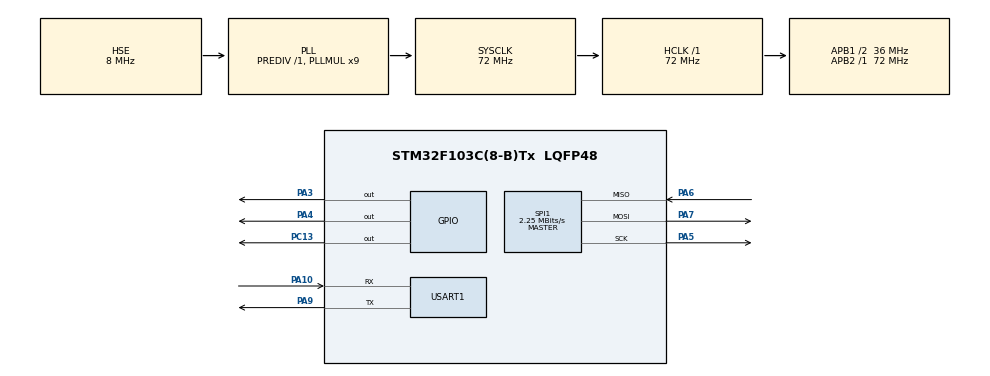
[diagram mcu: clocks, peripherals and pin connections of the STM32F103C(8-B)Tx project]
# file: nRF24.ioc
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Mcu.Family=STM32F1
Mcu.Name=STM32F103C(8-B)Tx
Mcu.Package=LQFP48
NVIC.PriorityGroup=NVIC_PRIORITYGROUP_4
PA10.Mode=Asynchronous
PA10.Signal=USART1_RX
PA3.Signal=GPIO_Output
PA4.Signal=GPIO_Output
PA5.Mode=Full_Duplex_Master
PA5.Signal=SPI1_SCK
PA6.Mode=Full_Duplex_Master
PA6.Signal=SPI1_MISO
PA7.Mode=Full_Duplex_Master
PA7.Signal=SPI1_MOSI
PA9.Mode=Asynchronous
PA9.Signal=USART1_TX
PC13-TAMPER-RTC.Signal=GPIO_Output
PD0-OSC_IN.Mode=HSE-External-Oscillator
PD0-OSC_IN.Signal=RCC_OSC_IN
PD1-OSC_OUT.Mode=HSE-External-Oscillator
PD1-OSC_OUT.Signal=RCC_OSC_OUT
ProjectManager.HeapSize=0x200
ProjectManager.StackSize=0x400
ProjectManager.TargetToolchain=TrueSTUDIO
RCC.AHBFreq_Value=72000000
RCC.APB1CLKDivider=RCC_HCLK_DIV2
RCC.APB1Freq_Value=36000000
RCC.APB1TimFreq_Value=72000000
RCC.APB2Freq_Value=72000000
RCC.APB2TimFreq_Value=72000000
RCC.HCLKFreq_Value=72000000
RCC.PLLMUL=RCC_PLL_MUL9
RCC.PLLSourceVirtual=RCC_PLLSOURCE_HSE
RCC.SYSCLKFreq_VALUE=72000000
RCC.SYSCLKSource=RCC_SYSCLKSOURCE_PLLCLK
RCC.USBFreq_Value=72000000
SPI1.BaudRatePrescaler=SPI_BAUDRATEPRESCALER_32
SPI1.CalculateBaudRate=2.25 MBits/s
SPI1.Direction=SPI_DIRECTION_2LINES
SPI1.Mode=SPI_MODE_MASTER
SPI1.VirtualType=VM_MASTER
USART1.VirtualMode=VM_ASYNC
VP_SYS_VS_ND.Mode=No_Debug
board=custom

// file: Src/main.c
/* USER CODE BEGIN Header */
/**
  ******************************************************************************
  * @file           : main.c
  * @brief          : Main program body
  ******************************************************************************
  * @attention
  *
  * <h2><center>&copy; Copyright (c) 2020 STMicroelectronics.
  * All rights reserved.</center></h2>
  *
  * This software component is licensed by ST under BSD 3-Clause license,
  * the "License"; You may not use this file except in compliance with the
  * License. You may obtain a copy of the License at:
  *                        opensource.org/licenses/BSD-3-Clause
  *
  ******************************************************************************
  */
/* USER CODE END Header */

#include "main.h"

/* USER CODE BEGIN Includes */
#include "MY_NRF24.h"
/* USER CODE END Includes */

SPI_HandleTypeDef hspi1;

UART_HandleTypeDef huart1;

void SystemClock_Config(void);
static void MX_GPIO_Init(void);
static void MX_SPI1_Init(void);
static void MX_USART1_UART_Init(void);

/* USER CODE BEGIN 0 */

uint64_t TxpipeAddrs = 0xe7e7e7e7e7;
uint64_t RxpipeAddrs = 0xe7e7e7e7e7;
char myTxData[32] = "Tatu bola, te amo!ddd";
char myRxData[50] ;
/* USER CODE END 0 */

int main(void)
{

  /* MCU Configuration--------------------------------------------------------*/

  /* Reset of all peripherals, Initializes the Flash interface and the Systick. */
  HAL_Init();

  /* Configure the system clock */
  SystemClock_Config();

  /* Initialize all configured peripherals */
  MX_GPIO_Init();
  MX_SPI1_Init();
  MX_USART1_UART_Init();
  /* USER CODE BEGIN 2 */
  NRF24_begin(GPIOA,GPIO_PIN_3,GPIO_PIN_4, hspi1); //CS CE
  nrf24_DebugUART_Init(huart1);

  //*** TRANSMIT - NO ACK ***//
  NRF24_setAutoAck(false);
  NRF24_setChannel(103);
  NRF24_setPayloadSize(32);
  NRF24_setDataRate(RF24_1MBPS);
  NRF24_setPALevel(RF24_PA_m12dB); // máximo RF24_PA_0dB
  NRF24_startListening();
  NRF24_openReadingPipe(0,RxpipeAddrs);

  printRadioSettings();
  /* USER CODE END 2 */

  /* Infinite loop */
  while (1)
  {

    if (NRF24_write(myRxData,32)){

		myRxData[32] = '\r'; myRxData[32+1] = '\n';
		HAL_UART_Transmit(&huart1, (uint8_t *)myRxData, 32+2, 10);
        HAL_GPIO_TogglePin(GPIOC,GPIO_PIN_13);

    }
    //printRadioSettings();
    HAL_Delay(500);
  }
}

void SystemClock_Config(void)
{
  RCC_OscInitTypeDef RCC_OscInitStruct = {0};
  RCC_ClkInitTypeDef RCC_ClkInitStruct = {0};

  /** Initializes the CPU, AHB and APB busses clocks
  */
  RCC_OscInitStruct.OscillatorType = RCC_OSCILLATORTYPE_HSE;
  RCC_OscInitStruct.HSEState = RCC_HSE_ON;
  RCC_OscInitStruct.HSEPredivValue = RCC_HSE_PREDIV_DIV1;
  RCC_OscInitStruct.HSIState = RCC_HSI_ON;
  RCC_OscInitStruct.PLL.PLLState = RCC_PLL_ON;
  RCC_OscInitStruct.PLL.PLLSource = RCC_PLLSOURCE_HSE;
  RCC_OscInitStruct.PLL.PLLMUL = RCC_PLL_MUL9;
  if (HAL_RCC_OscConfig(&RCC_OscInitStruct) != HAL_OK)
  {
    Error_Handler();
  }
  /** Initializes the CPU, AHB and APB busses clocks
  */
  RCC_ClkInitStruct.ClockType = RCC_CLOCKTYPE_HCLK|RCC_CLOCKTYPE_SYSCLK
                              |RCC_CLOCKTYPE_PCLK1|RCC_CLOCKTYPE_PCLK2;
  RCC_ClkInitStruct.SYSCLKSource = RCC_SYSCLKSOURCE_PLLCLK;
  RCC_ClkInitStruct.AHBCLKDivider = RCC_SYSCLK_DIV1;
  RCC_ClkInitStruct.APB1CLKDivider = RCC_HCLK_DIV2;
  RCC_ClkInitStruct.APB2CLKDivider = RCC_HCLK_DIV1;

  if (HAL_RCC_ClockConfig(&RCC_ClkInitStruct, FLASH_LATENCY_2) != HAL_OK)
  {
    Error_Handler();
  }
}

static void MX_SPI1_Init(void)
{

  /* SPI1 parameter configuration*/
  hspi1.Instance = SPI1;
  hspi1.Init.Mode = SPI_MODE_MASTER;
  hspi1.Init.Direction = SPI_DIRECTION_2LINES;
  hspi1.Init.DataSize = SPI_DATASIZE_8BIT;
  hspi1.Init.CLKPolarity = SPI_POLARITY_LOW;
  hspi1.Init.CLKPhase = SPI_PHASE_1EDGE;
  hspi1.Init.NSS = SPI_NSS_SOFT;
  hspi1.Init.BaudRatePrescaler = SPI_BAUDRATEPRESCALER_32;
  hspi1.Init.FirstBit = SPI_FIRSTBIT_MSB;
  hspi1.Init.TIMode = SPI_TIMODE_DISABLE;
  hspi1.Init.CRCCalculation = SPI_CRCCALCULATION_DISABLE;
  hspi1.Init.CRCPolynomial = 10;
  if (HAL_SPI_Init(&hspi1) != HAL_OK)
  {
    Error_Handler();
  }

}

static void MX_USART1_UART_Init(void)
{

  huart1.Instance = USART1;
  huart1.Init.BaudRate = 115200;
  huart1.Init.WordLength = UART_WORDLENGTH_8B;
  huart1.Init.StopBits = UART_STOPBITS_1;
  huart1.Init.Parity = UART_PARITY_NONE;
  huart1.Init.Mode = UART_MODE_TX_RX;
  huart1.Init.HwFlowCtl = UART_HWCONTROL_NONE;
  huart1.Init.OverSampling = UART_OVERSAMPLING_16;
  if (HAL_UART_Init(&huart1) != HAL_OK)
  {
    Error_Handler();
  }

}

static void MX_GPIO_Init(void)
{
  GPIO_InitTypeDef GPIO_InitStruct = {0};

  /* GPIO Ports Clock Enable */
  __HAL_RCC_GPIOC_CLK_ENABLE();
  __HAL_RCC_GPIOD_CLK_ENABLE();
  __HAL_RCC_GPIOA_CLK_ENABLE();

  /*Configure GPIO pin Output Level */
  HAL_GPIO_WritePin(GPIOC, GPIO_PIN_13, GPIO_PIN_RESET);

  /*Configure GPIO pin Output Level */
  HAL_GPIO_WritePin(GPIOA, GPIO_PIN_3|GPIO_PIN_4, GPIO_PIN_RESET);

  /*Configure GPIO pin : PC13 */
  GPIO_InitStruct.Pin = GPIO_PIN_13;
  GPIO_InitStruct.Mode = GPIO_MODE_OUTPUT_PP;
  GPIO_InitStruct.Pull = GPIO_NOPULL;
  GPIO_InitStruct.Speed = GPIO_SPEED_FREQ_LOW;
  HAL_GPIO_Init(GPIOC, &GPIO_InitStruct);

  /*Configure GPIO pins : PA3 PA4 */
  GPIO_InitStruct.Pin = GPIO_PIN_3|GPIO_PIN_4;
  GPIO_InitStruct.Mode = GPIO_MODE_OUTPUT_PP;
  GPIO_InitStruct.Pull = GPIO_NOPULL;
  GPIO_InitStruct.Speed = GPIO_SPEED_FREQ_LOW;
  HAL_GPIO_Init(GPIOA, &GPIO_InitStruct);

}

void Error_Handler(void)
{
}

/************************ (C) COPYRIGHT STMicroelectronics *****END OF FILE****/
